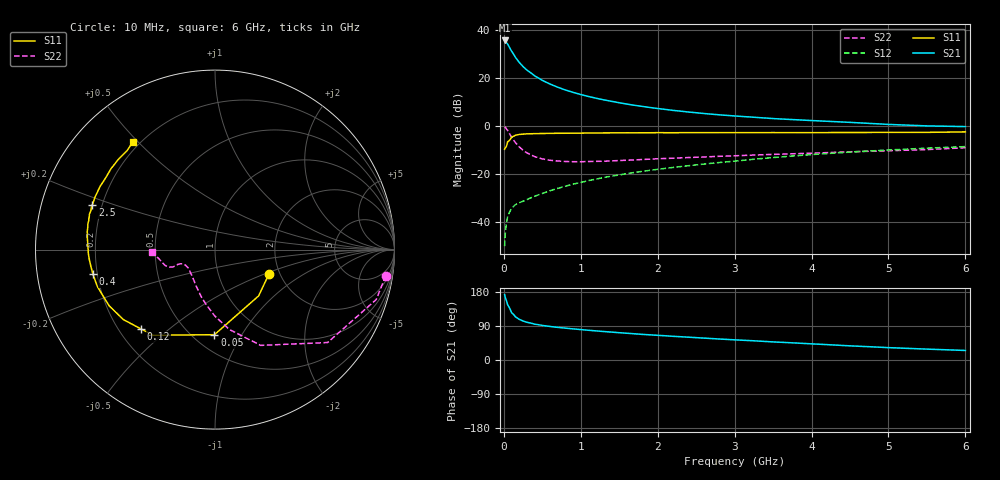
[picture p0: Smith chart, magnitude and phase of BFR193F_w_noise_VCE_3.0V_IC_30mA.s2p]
! (c) 2017  Infineon Technologies AG, Munich
! Infineon Technologies  Discrete & RF Semiconductors
! BFR193F
! VCE =  3.0 V,  IC =  30 mA
! Common Emitter S-Parameters:  Jan 2017
# GHz  S  MA  R  50
!  f  S11  S21  S12  S22
! GHz  MAG  ANG  MAG  ANG  MAG  ANG  MAG  ANG
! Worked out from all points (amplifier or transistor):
!   77 points, 10 MHz to 6 GHz, reference 50 ohm
!   highest |S21| = 35.5 dB at 10 MHz (marker M1)
!   |S21| within 3 dB of that: start of sweep to 75.2 MHz
!   unconditionally stable (mu >= 1): 989.8 MHz to 2.71 GHz
!   at 130 MHz: K = 0.39, MSG = 31.4 dB, |S12| = -33.3 dB
!   at 2.2 GHz: K = 1.02, MAG = 10.9 dB, |S12| = -17.2 dB
!   at 6 GHz: K = 0.87, MSG = 4.2 dB, |S12| = -8.6 dB
!   lowest NFmin = 1.18 dB at 450 MHz
!   S11 on the Smith chart (normalised r, x): 10 MHz: 1.76, -0.53; 50 MHz: 0.63, -0.77; 120 MHz: 0.29, -0.40; 400 MHz: 0.18, -0.09; 2.5 GHz: 0.16, +0.17; 6 GHz: 0.17, +0.48
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0.01  0.33 -23.8  59.67 172.5  0.0032 82.5  0.9624 -8.7
0.02  0.3544 -46.7  58.06 164.5  0.0063 78.3  0.9404 -17.2
0.05  0.4742 -90.4  49.98 145.3  0.0133 65.2  0.8137 -39.5
0.1  0.589 -125.9  35.92 125.0  0.0195 51.6  0.5913 -64.5
0.12  0.6041 -133.0  32.12 121.4  0.021 50.1  0.5314 -69.7
0.15  0.6427 -142.7  26.72 114.2  0.0232 48.1  0.4523 -79.8
0.2  0.6678 -152.1  20.94 107.4  0.0256 48.7  0.3699 -90.2
0.25  0.6774 -158.6  17.09 102.9  0.0274 49.6  0.3119 -98.8
0.3  0.6872 -162.8  14.46 99.6  0.0297 51.2  0.2768 -105.6
0.4  0.6941 -168.8  10.99 94.6  0.0349 55.5  0.2316 -116.4
0.5  0.6983 -172.7  8.861 91.3  0.0396 59.0  0.2075 -124.6
0.6  0.7029 -175.7  7.428 88.5  0.0454 61.7  0.1946 -131.2
0.7  0.7061 -178.3  6.388 86.1  0.0506 63.7  0.1877 -136.2
0.9  0.7094 177.9  4.994 82.1  0.0622 66.6  0.1814 -144.0
1.1  0.7144 174.8  4.101 78.4  0.0737 68.4  0.1832 -148.7
1.5  0.7201 169.7  3.039 72.1  0.0964 70.2  0.1919 -154.7
2.1  0.7258 163.4  2.208 63.9  0.1319 70.9  0.2117 -157.9
2.5  0.7278 160.0  1.884 59.0  0.1558 70.6  0.2245 -158.1
3.1  0.7293 154.8  1.576 52.2  0.1933 69.7  0.2442 -157.6
4.1  0.7293 145.8  1.275 41.6  0.2611 65.7  0.2761 -159.9
5.1  0.7365 135.8  1.063 31.9  0.3232 60.1  0.3099 -168.8
6  0.755 127.2  0.972 25.2  0.3733 54.7  0.3535 -177.9
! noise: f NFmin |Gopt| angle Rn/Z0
0.45  1.18  0.39  176  0.06
0.9  1.27  0.42  176  0.07
1.9  1.84  0.57  -168  0.07
2.4  2.13  0.61  -159  0.11
